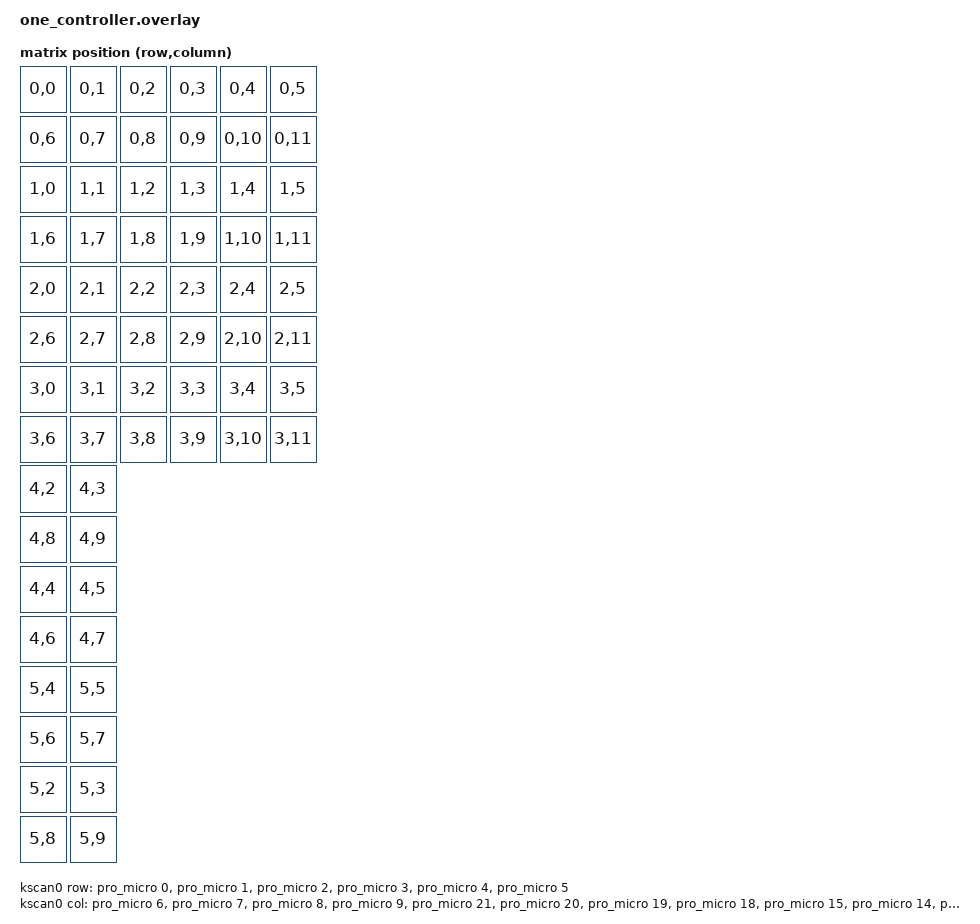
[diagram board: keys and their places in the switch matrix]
#include <dt-bindings/zmk/matrix_transform.h>

/ {
    chosen {
        zmk,kscan = &kscan0;
        zmk,matrix-transform = &default_transform;
    };

    /* Matrix scan (6x12), diode direction COL2ROW */
    kscan0: kscan0 {
        compatible = "zmk,kscan-gpio-matrix";
        diode-direction = "col2row";
        wakeup-source;

        /* Columns are outputs for col2row */
        col-gpios
            = <&pro_micro 6  GPIO_ACTIVE_HIGH>  /* D7 */
            , <&pro_micro 7  GPIO_ACTIVE_HIGH>  /* E6 */
            , <&pro_micro 8  GPIO_ACTIVE_HIGH>  /* B4 */
            , <&pro_micro 9  GPIO_ACTIVE_HIGH>  /* B5 */
            , <&pro_micro 21 GPIO_ACTIVE_HIGH>  /* F4 / A3 */
            , <&pro_micro 20 GPIO_ACTIVE_HIGH>  /* F5 / A2 */
            , <&pro_micro 19 GPIO_ACTIVE_HIGH>  /* F6 / A1 */
            , <&pro_micro 18 GPIO_ACTIVE_HIGH>  /* F7 / A0 */
            , <&pro_micro 15 GPIO_ACTIVE_HIGH>  /* B1 */
            , <&pro_micro 14 GPIO_ACTIVE_HIGH>  /* B3 */
            , <&pro_micro 16 GPIO_ACTIVE_HIGH>  /* B2 */
            , <&pro_micro 10 GPIO_ACTIVE_HIGH>  /* B6 */
            ;

        /* Rows are inputs for col2row */
        row-gpios
            = <&pro_micro 0 (GPIO_ACTIVE_HIGH | GPIO_PULL_DOWN)> /* D3 / TX0 */
            , <&pro_micro 1 (GPIO_ACTIVE_HIGH | GPIO_PULL_DOWN)> /* D2 / RX1 */
            , <&pro_micro 2 (GPIO_ACTIVE_HIGH | GPIO_PULL_DOWN)> /* D1 */
            , <&pro_micro 3 (GPIO_ACTIVE_HIGH | GPIO_PULL_DOWN)> /* D0 */
            , <&pro_micro 4 (GPIO_ACTIVE_HIGH | GPIO_PULL_DOWN)> /* D4 */
            , <&pro_micro 5 (GPIO_ACTIVE_HIGH | GPIO_PULL_DOWN)> /* C6 */
            ;

        /* QMK DEBOUNCE 5ms -> ZMK per-driver debounce */
        debounce-press-ms = <5>;
        debounce-release-ms = <5>;
    };

    /*
     * Matrix transform:
     * Your keyboard.json defines 64 keys (not a full 6x12 = 72 grid).
     * This transform makes your keymap only have 64 positions, in the exact
     * same order as the JSON "layout" list.
     */
    default_transform: matrix_transform {
        compatible = "zmk,matrix-transform";
        rows = <6>;
        columns = <12>;
        map = <
            /* LEFT MAIN GRID: rows 0-1, cols 0-11 */
            RC(0,0)  RC(0,1)  RC(0,2)  RC(0,3)  RC(0,4)  RC(0,5)
            RC(0,6)  RC(0,7)  RC(0,8)  RC(0,9)  RC(0,10) RC(0,11)

            RC(1,0)  RC(1,1)  RC(1,2)  RC(1,3)  RC(1,4)  RC(1,5)
            RC(1,6)  RC(1,7)  RC(1,8)  RC(1,9)  RC(1,10) RC(1,11)

            /* RIGHT MAIN GRID: rows 2-3, cols 0-11 */
            RC(2,0)  RC(2,1)  RC(2,2)  RC(2,3)  RC(2,4)  RC(2,5)
            RC(2,6)  RC(2,7)  RC(2,8)  RC(2,9)  RC(2,10) RC(2,11)

            RC(3,0)  RC(3,1)  RC(3,2)  RC(3,3)  RC(3,4)  RC(3,5)
            RC(3,6)  RC(3,7)  RC(3,8)  RC(3,9)  RC(3,10) RC(3,11)

            /* THUMBS / EXTRA per your JSON ordering */
            RC(4,2)  RC(4,3)
            RC(4,8)  RC(4,9)

            RC(4,4)  RC(4,5)
            RC(4,6)  RC(4,7)

            RC(5,4)  RC(5,5)
            RC(5,6)  RC(5,7)

            RC(5,2)  RC(5,3)
            RC(5,8)  RC(5,9)
        >;
    };
};
